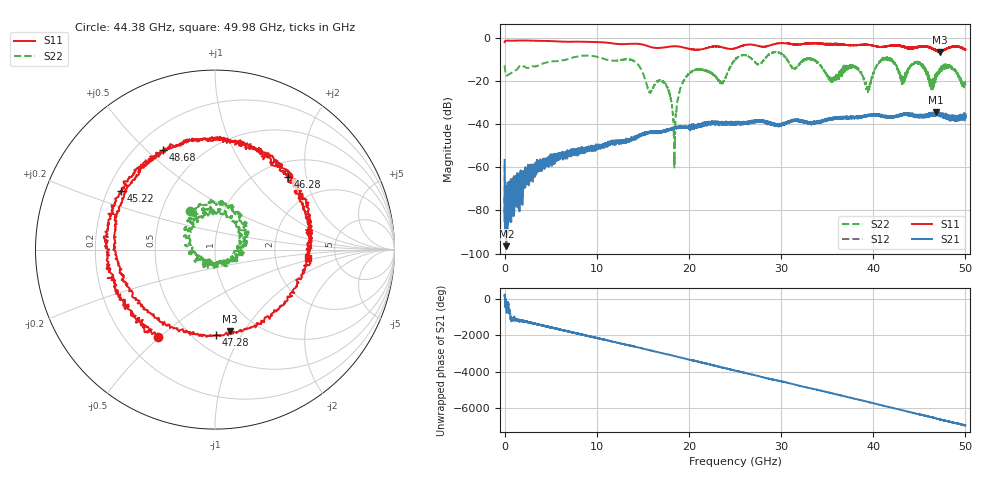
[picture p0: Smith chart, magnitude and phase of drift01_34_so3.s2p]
!Created with skrf (http://scikit-rf.org).
# Hz S RI R 50.0
!freq ReS11 ImS11 ReS21 ImS21 ReS12 ImS12 ReS22 ImS22
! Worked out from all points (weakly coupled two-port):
!   10001 points, 300 kHz to 50 GHz, reference 50 ohm
!   highest |S21| = -34.40 dB at 46.78 GHz (marker M1); lowest = -96.5 dB at 185.3 MHz (marker M2)
!   lowest |S11| = -6.7 dB at 47.21 GHz (marker M3), VSWR 2.73, Z = 37.5 - j43.6 ohm
!   |S11| at or under -10 dB: nowhere
!   |S22| runs from -60.2 to -6.7 dB; largest |S21 - S12| = 0.0041
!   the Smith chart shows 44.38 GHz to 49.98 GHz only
!   S11 on the Smith chart (normalised r, x): 44.38 GHz: 0.33, -0.49; 45.22 GHz: 0.25, +0.27; 46.28 GHz: 1.29, +1.56; 47.28 GHz: 0.63, -0.78; 48.68 GHz: 0.31, +0.56; 49.98 GHz: 3.10, -0.38
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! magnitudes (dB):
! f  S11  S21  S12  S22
! 300 kHz  -2.1  -56.6  -58.9  -12.8
! 185.3 MHz  -1.4  -96.5  -70.9  -17.5
! 8.335 GHz  -1.9  -52.1  -52.3  -8.5
! 16.67 GHz  -4.9  -43.4  -43.6  -20.0
! 17.74 GHz  -4.3  -42.6  -42.7  -24.0
! 18.43 GHz  -4.1  -42.0  -42.1  -54.7
! 19.91 GHz  -5.1  -41.6  -41.5  -17.1
! 23.6 GHz  -4.5  -39.2  -39.4  -20.8
! 25 GHz  -5.0  -40.5  -39.4  -10.3
! 33.34 GHz  -2.6  -39.7  -39.3  -9.9
! 39.44 GHz  -3.4  -35.6  -36.3  -24.3
! 41.67 GHz  -3.9  -36.6  -36.8  -9.9
! 43.18 GHz  -4.2  -35.4  -35.5  -19.6
! 44.38 GHz  -4.7  -36.4  -36.2  -11.9
! 45.22 GHz  -4.2  -36.2  -36.4  -12.5
! 46.28 GHz  -4.8  -35.9  -35.8  -22.2
! 46.78 GHz  -6.0  -34.4  -35.4  -19.3
! 47.21 GHz  -6.7  -36.1  -35.4  -14.8
! 47.28 GHz  -6.4  -36.3  -35.5  -15.6
! 48.68 GHz  -4.1  -37.2  -37.4  -14.1
! 49.98 GHz  -5.7  -36.3  -36.3  -21.3
! 50 GHz  -5.5  -37.1  -35.9  -21.6
